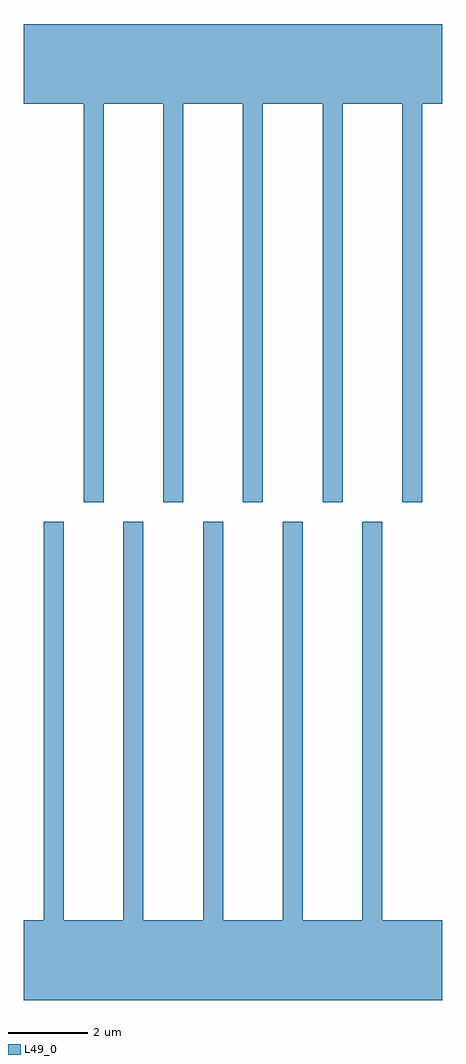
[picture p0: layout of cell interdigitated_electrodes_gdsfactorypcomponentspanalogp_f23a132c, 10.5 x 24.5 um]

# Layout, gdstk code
import gdstk
lib = gdstk.Library(unit=1e-6, precision=1e-09)
def R(c, l, rs):  # rectangles x0, y0, x1, y1
    for r in rs: c.add(gdstk.rectangle(r[:2], r[2:], *l))
def A(c, l, x, y, w, h, nx, ny, dx, dy):  # array of equal rectangles
    R(c, l, [(x+i*dx, y+j*dy, x+i*dx+w, y+j*dy+h) for i in range(nx) for j in range(ny)])
L49_0 = (49, 0)

interdigitated_electrode = lib.new_cell('interdigitated_electrodes_gdsfactorypcomponentspanalogp_f23a132c')
A(interdigitated_electrode, L49_0, -4.75, -10.25, 0.5, 10, 5, 1, 2, 0)
A(interdigitated_electrode, L49_0, -3.75, 0.25, 0.5, 10, 5, 1, 2, 0)
R(interdigitated_electrode, L49_0, [(-5.25,-12.25,5.25,-10.25), (-5.25,10.25,5.25,12.25)])

lib.write_gds('interdigitated_electrodes_gdsfactorypcomponentspanalogp_f23a132c.gds')
